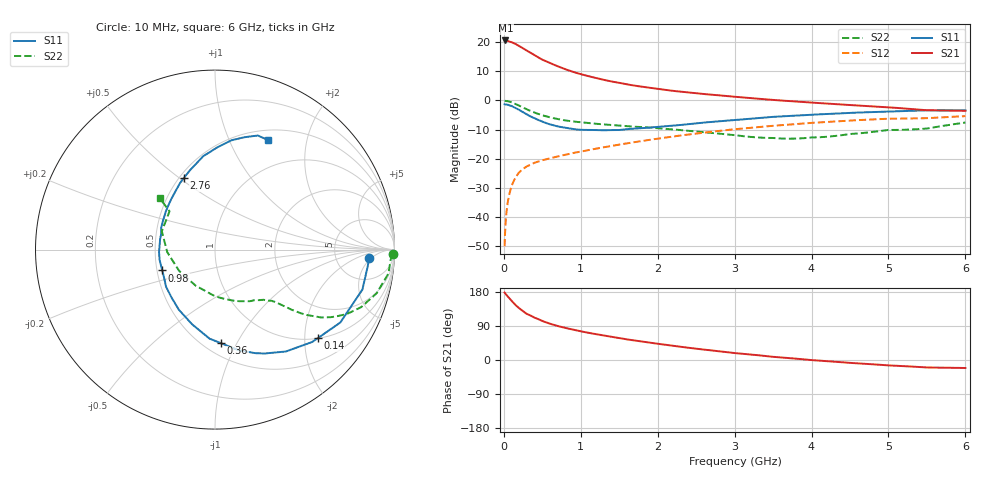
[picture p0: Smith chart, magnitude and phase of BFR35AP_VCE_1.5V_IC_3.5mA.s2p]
! Infineon Technologies  Discrete & RF Semiconductors
! BFR35AP
! VCE =  1.5 V,  IC =  3.5 mA
! Common Emitter S-Parameters:  Nov 2015
# GHz  S  MA  R  50
!  f  S11  S21  S12  S22
! GHz  MAG  ANG  MAG  ANG  MAG  ANG  MAG  ANG
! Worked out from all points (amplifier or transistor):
!   210 points, 10 MHz to 6 GHz, reference 50 ohm
!   highest |S21| = 20.6 dB at 20 MHz (marker M1)
!   |S21| within 3 dB of that: start of sweep to 269.4 MHz
!   unconditionally stable (mu >= 1): 871.9 MHz to 4.973 GHz; 5.007 GHz to end of sweep
!   at 185 MHz: K = 0.31, MSG = 22.0 dB, |S12| = -25.1 dB
!   at 1.52 GHz: K = 1.17, MAG = 8.0 dB, |S12| = -15.0 dB
!   at 6 GHz: K = 1.01, MAG = 0.2 dB, |S12| = -5.4 dB
!   S11 on the Smith chart (normalised r, x): 10 MHz: 12, -4; 140 MHz: 1.01, -2.32; 360 MHz: 0.60, -0.87; 980 MHz: 0.53, -0.14; 2.76 GHz: 0.53, +0.52; 6 GHz: 0.62, +1.40
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0.01  0.8617 -3.1  10.6 177.8  0.0032 89.4  0.9919 -1.5
0.02  0.8563 -6.1  10.67 174.9  0.007 87.9  0.9809 -3.1
0.05  0.8509 -15.2  10.46 167.8  0.0179 81.9  0.9753 -7.9
0.1  0.8077 -30.2  10.01 156.4  0.0341 73.7  0.9329 -15.1
0.14  0.756 -40.7  9.441 147.5  0.0449 68.0  0.8859 -20.2
0.15  0.7474 -43.5  9.337 145.1  0.0476 67.0  0.8753 -21.5
0.2  0.6914 -55.2  8.564 136.5  0.059 62.4  0.8166 -26.1
0.24  0.6413 -64.5  7.965 130.0  0.0657 58.6  0.769 -29.0
0.3  0.5745 -77.0  7.135 121.5  0.0746 55.0  0.7019 -32.6
0.36  0.5227 -86.3  6.393 116.0  0.0813 52.7  0.6514 -34.5
0.5  0.4352 -107.1  5.003 102.7  0.0947 49.5  0.5578 -37.7
0.6  0.3909 -121.0  4.37 95.7  0.1024 48.6  0.5134 -38.9
0.8  0.3425 -142.7  3.426 84.5  0.1175 48.6  0.4548 -40.6
0.98  0.3161 -158.5  2.872 76.6  0.1319 49.1  0.4261 -42.1
1.02  0.3142 -162.2  2.778 74.9  0.135 49.1  0.421 -42.6
1.4  0.3117 168.9  2.114 60.9  0.1665 49.6  0.3808 -47.6
2.02  0.3543 138.3  1.568 42.3  0.224 47.6  0.3333 -59.6
2.76  0.4355 113.4  1.237 23.9  0.2977 41.8  0.2737 -82.0
3.1  0.474 105.3  1.129 16.5  0.3309 38.0  0.2458 -96.8
4.1  0.5788 87.1  0.903 -1.6  0.4212 25.8  0.2346 -155.5
5.1  0.6523 74.2  0.748 -15.2  0.4889 11.9  0.3133 156.6
6  0.678 64.3  0.666 -21.1  0.54 1.8  0.4189 137.1
